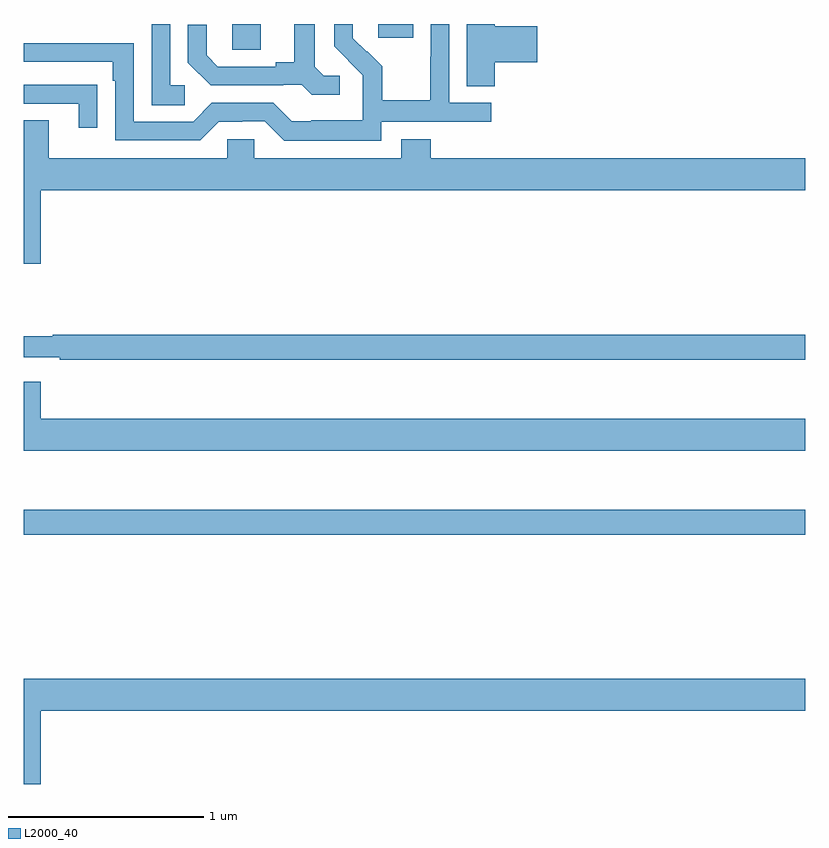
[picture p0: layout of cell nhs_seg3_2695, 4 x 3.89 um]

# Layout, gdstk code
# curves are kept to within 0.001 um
import gdstk
lib = gdstk.Library(unit=1e-6, precision=1e-09)
def R(c, l, rs):  # rectangles x0, y0, x1, y1
    for r in rs: c.add(gdstk.rectangle(r[:2], r[2:], *l))
def P(c, l, *ps):  # polygons
    for p in ps: c.add(gdstk.Polygon(p, *l))
L2000_40 = (2000, 40)

nhs_seg3_2695 = lib.new_cell('nhs_seg3_2695')
R(nhs_seg3_2695, L2000_40, [(249,733.786,253,733.915), (250.068,736.267,250.213,736.4), (250.814,736.329,250.993,736.4)])
P(nhs_seg3_2695, L2000_40, [(250.618,736.134),(250.536,736.134),(250.489,736.181),(250.489,736.4),(250.385,736.4),(250.385,736.205),(250.289,736.205),(250.289,736.182),(249.994,736.182),(249.937,736.239),(249.937,736.396),(249.84,736.396),(249.84,736.202),(249.956,736.086),(250.328,736.086),(250.328,736.089),(250.422,736.089),(250.474,736.037),(250.618,736.037)],
  [(249.823,736.086),(249.75,736.086),(249.75,736.4),(249.654,736.4),(249.654,735.985),(249.823,735.985)],
  [(250.83,735.9),(251.392,735.9),(251.392,735.996),(251.178,735.996),(251.178,736.4),(251.082,736.4),(251.082,736.232),(251.08,736.232),(251.08,736.009),(250.835,736.009),(250.835,736.183),(250.758,736.26),(250.755,736.257),(250.685,736.328),(250.685,736.4),(250.59,736.4),(250.59,736.286),(250.736,736.138),(250.736,736.041),(250.734,736.041),(250.734,735.907),(250.471,735.907),(250.471,735.903),(250.371,735.903),(250.278,735.996),(249.963,735.996),(249.867,735.9),(249.564,735.9),(249.564,736.302),(249,736.302),(249,736.206),(249.455,736.206),(249.455,736.109),(249.468,736.109),(249.468,735.804),(249.903,735.804),(249.999,735.9),(250.118,735.9),(250.118,735.903),(250.233,735.903),(250.333,735.803),(250.83,735.803)],
  [(251.411,736.205),(251.629,736.205),(251.629,736.388),(251.411,736.388),(251.411,736.4),(251.267,736.4),(251.267,736.081),(251.411,736.081)],
  [(249.377,736.088),(249.275,736.088),(249.275,736.089),(249,736.089),(249,735.993),(249.281,735.993),(249.281,735.87),(249.377,735.87)],
  [(249.088,735.548),(253,735.548),(253,735.712),(251.084,735.712),(251.084,735.811),(250.931,735.811),(250.931,735.712),(250.179,735.712),(250.179,735.81),(250.041,735.81),(250.041,735.712),(249.127,735.712),(249.127,735.907),(249,735.907),(249,735.174),(249.088,735.174)],
  [(253,734.81),(249.148,734.81),(249.148,734.803),(249,734.803),(249,734.694),(249.184,734.694),(249.184,734.682),(253,734.682)],
  [(253,734.38),(249.088,734.38),(249.088,734.569),(249,734.569),(249,734.216),(253,734.216)],
  [(249.088,732.884),(253,732.884),(253,733.048),(249,733.048),(249,732.51),(249.088,732.51)])

lib.write_gds('nhs_seg3_2695.gds')
